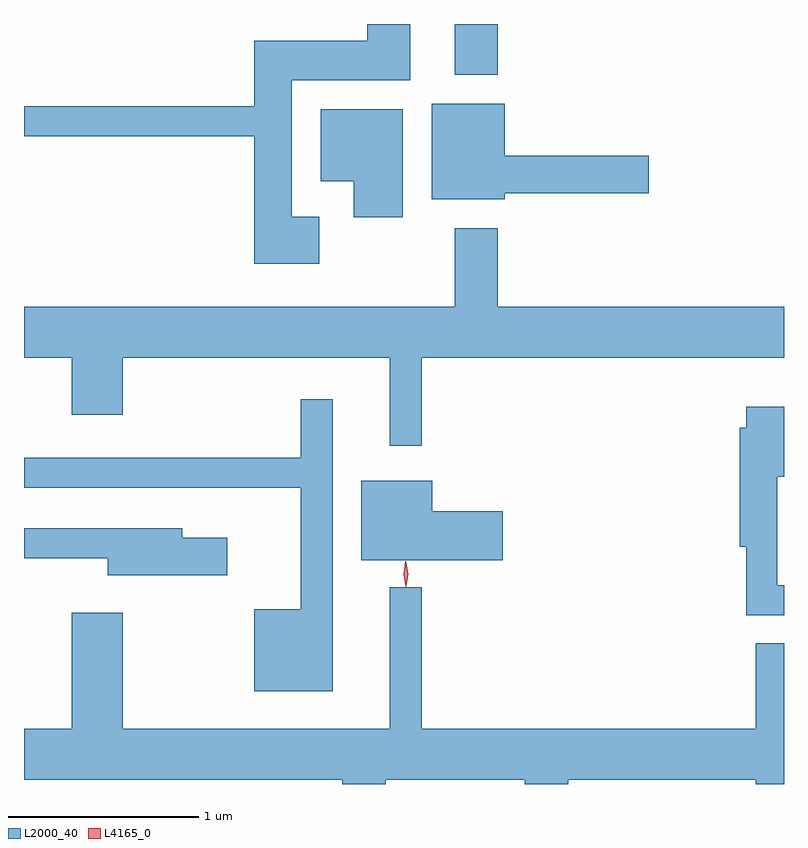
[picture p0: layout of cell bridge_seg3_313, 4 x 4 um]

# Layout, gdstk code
import gdstk
lib = gdstk.Library(unit=1e-6, precision=1e-09)
def R(c, l, rs):  # rectangles x0, y0, x1, y1
    for r in rs: c.add(gdstk.rectangle(r[:2], r[2:], *l))
def P(c, l, *ps):  # polygons
    for p in ps: c.add(gdstk.Polygon(p, *l))
L2000_40 = (2000, 40)
L4165_0 = (4165, 0)

bridge_seg3_313 = lib.new_cell('bridge_seg3_313')
R(bridge_seg3_313, L2000_40, [(596.711,1171.906,596.939,1172.173)])
P(bridge_seg3_313, L2000_40, [(595.999,1171.159),(595.854,1171.159),(595.854,1171.876),(596.479,1171.876),(596.479,1172.173),(596.251,1172.173),(596.251,1172.084),(595.656,1172.084),(595.656,1171.739),(594.445,1171.739),(594.445,1171.581),(595.656,1171.581),(595.656,1170.911),(595.999,1170.911)],
  [(596.974,1171.281),(597.734,1171.281),(597.734,1171.479),(596.974,1171.479),(596.974,1171.754),(596.591,1171.754),(596.591,1171.251),(596.974,1171.251)],
  [(596.439,1171.724),(596.006,1171.724),(596.006,1171.346),(596.181,1171.346),(596.181,1171.156),(596.439,1171.156)],
  [(596.539,1170.416),(598.445,1170.416),(598.445,1170.684),(596.939,1170.684),(596.939,1171.099),(596.711,1171.099),(596.711,1170.684),(594.445,1170.684),(594.445,1170.416),(594.696,1170.416),(594.696,1170.116),(594.964,1170.116),(594.964,1170.416),(596.371,1170.416),(596.371,1169.953),(596.539,1169.953)],
  [(596.069,1170.198),(595.901,1170.198),(595.901,1169.889),(594.445,1169.889),(594.445,1169.731),(595.901,1169.731),(595.901,1169.094),(595.656,1169.094),(595.656,1168.661),(596.069,1168.661)],
  [(598.445,1169.219),(598.409,1169.219),(598.409,1169.791),(598.445,1169.791),(598.445,1170.159),(598.246,1170.159),(598.246,1170.049),(598.211,1170.049),(598.211,1169.421),(598.246,1169.421),(598.246,1169.061),(598.445,1169.061)],
  [(596.964,1169.609),(596.594,1169.609),(596.594,1169.769),(596.221,1169.769),(596.221,1169.351),(596.964,1169.351)],
  [(595.514,1169.469),(595.279,1169.469),(595.279,1169.519),(594.445,1169.519),(594.445,1169.361),(594.886,1169.361),(594.886,1169.271),(595.514,1169.271)],
  [(596.349,1168.196),(597.081,1168.196),(597.081,1168.173),(597.309,1168.173),(597.309,1168.196),(598.296,1168.196),(598.296,1168.173),(598.445,1168.173),(598.445,1168.913),(598.296,1168.913),(598.296,1168.464),(596.539,1168.464),(596.539,1169.208),(596.371,1169.208),(596.371,1168.464),(594.964,1168.464),(594.964,1169.074),(594.696,1169.074),(594.696,1168.464),(594.445,1168.464),(594.445,1168.196),(596.121,1168.196),(596.121,1168.173),(596.349,1168.173)])
P(bridge_seg3_313, L4165_0, [(596.453,1169.21),(596.453,1169.21),(596.443,1169.278),(596.452,1169.346),(596.452,1169.346),(596.453,1169.346),(596.463,1169.278),(596.454,1169.21)],
  [(596.458,1169.213),(596.457,1169.214),(596.448,1169.276),(596.457,1169.34),(596.458,1169.34),(596.458,1169.34),(596.468,1169.276),(596.458,1169.214)])

lib.write_gds('bridge_seg3_313.gds')
